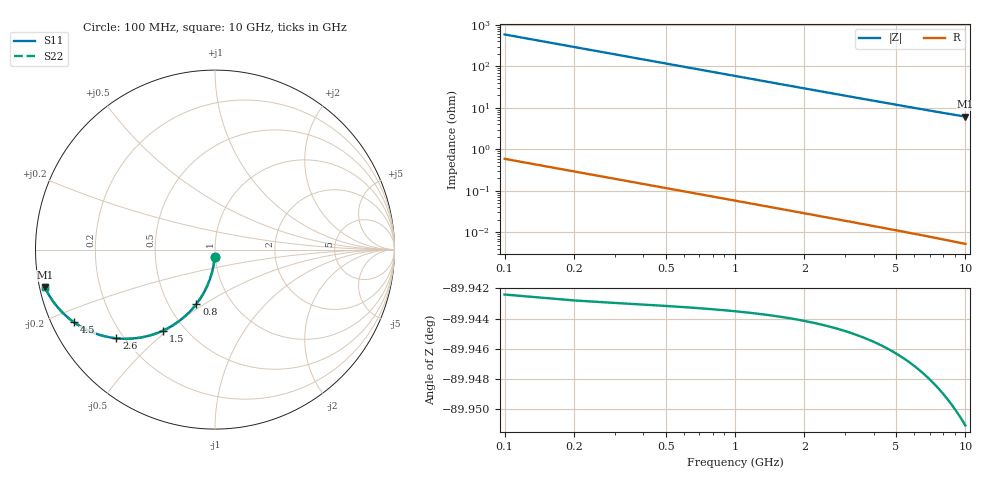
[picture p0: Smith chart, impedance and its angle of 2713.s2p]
# Hz S RI R 50.00
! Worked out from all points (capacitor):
!   100 points, 100 MHz to 10 GHz, reference 50 ohm
!   read as one part in shunt: C = 2.71 pF near 100 MHz
!   lowest |Z| = 6.13 ohm at 10 GHz (marker M1)
!   S11 on the Smith chart (normalised r, x): 100 MHz: 0.99, -0.08; 800 MHz: 0.68, -0.46; 1.5 GHz: 0.38, -0.48; 2.6 GHz: 0.17, -0.37; 4.5 GHz: 0.07, -0.24; 10 GHz: 0.01, -0.11
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1e8  -0.00182 -0.0424  0.9981 -0.0426  0.9981 -0.0426  -0.00182 -0.0424
2e8  -0.00725 -0.0843  0.9927 -0.0847  0.9927 -0.0847  -0.00725 -0.0843
3e8  -0.0161 -0.1253  0.9838 -0.1259  0.9838 -0.1259  -0.0161 -0.1253
4e8  -0.0283 -0.165  0.9716 -0.1658  0.9716 -0.1658  -0.0283 -0.165
5e8  -0.0435 -0.2029  0.9565 -0.204  0.9565 -0.204  -0.0435 -0.2029
6e8  -0.0614 -0.2389  0.9385 -0.2402  0.9385 -0.2402  -0.0614 -0.2389
8e8  -0.1041 -0.304  0.8959 -0.3057  0.8959 -0.3057  -0.1041 -0.304
9e8  -0.1281 -0.3328  0.8718 -0.3347  0.8718 -0.3347  -0.1281 -0.3328
1.1e9  -0.1799 -0.3824  0.82 -0.3848  0.82 -0.3848  -0.1799 -0.3824
1.3e9  -0.2344 -0.4217  0.7655 -0.4246  0.7655 -0.4246  -0.2344 -0.4217
1.5e9  -0.2895 -0.4514  0.7105 -0.4547  0.7105 -0.4547  -0.2895 -0.4514
1.8e9  -0.3696 -0.4802  0.6304 -0.4842  0.6304 -0.4842  -0.3696 -0.4802
2.2e9  -0.4667 -0.496  0.5333 -0.5008  0.5333 -0.5008  -0.4667 -0.496
2.6e9  -0.5498 -0.4942  0.4501 -0.4998  0.4501 -0.4998  -0.5498 -0.4942
3e9  -0.619 -0.4818  0.3809 -0.4884  0.3809 -0.4884  -0.619 -0.4818
3.4e9  -0.6759 -0.4638  0.324 -0.4712  0.324 -0.4712  -0.6759 -0.4638
3.9e9  -0.7328 -0.4377  0.2671 -0.4462  0.2671 -0.4462  -0.7328 -0.4377
4.5e9  -0.785 -0.4053  0.2149 -0.4153  0.2149 -0.4153  -0.785 -0.4053
5.1e9  -0.8242 -0.3745  0.1757 -0.3858  0.1757 -0.3858  -0.8242 -0.3745
6.7e9  -0.89 -0.3047  0.1098 -0.3197  0.1098 -0.3197  -0.89 -0.3047
8.4e9  -0.9273 -0.2494  0.0725 -0.2684  0.0725 -0.2684  -0.9273 -0.2494
1e10  -0.9478 -0.2102  0.0519 -0.2331  0.0519 -0.2331  -0.9478 -0.2102
